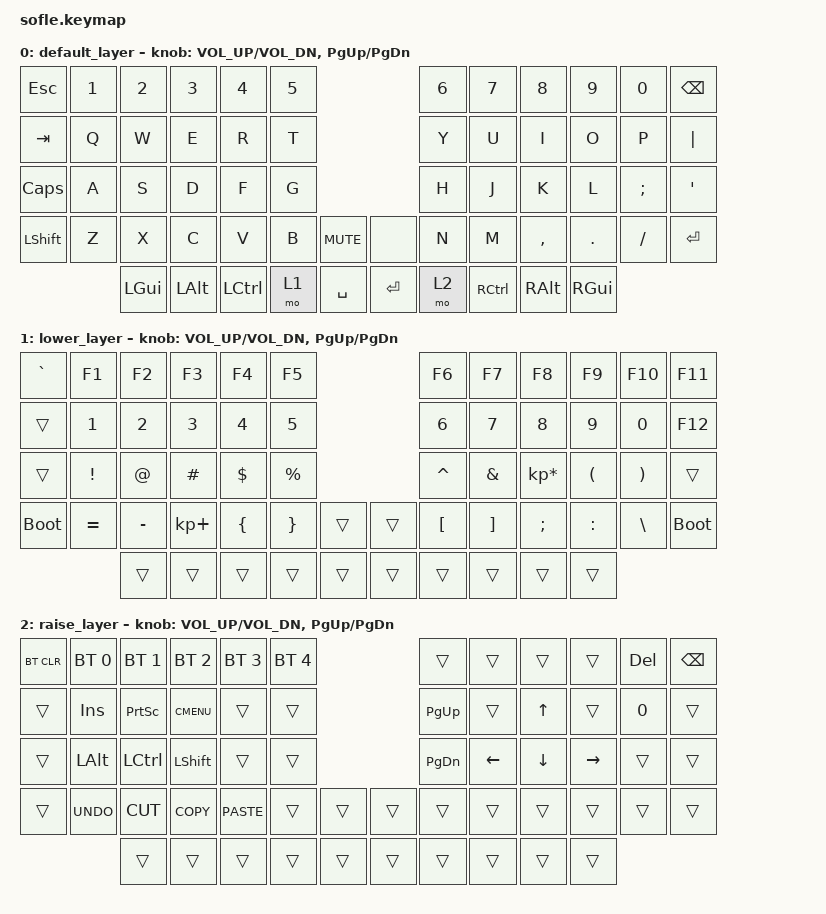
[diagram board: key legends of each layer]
/*
 * Copyright (c) 2020 The ZMK Contributors
 *
 * SPDX-License-Identifier: MIT
 */

#include <behaviors.dtsi>
#include <dt-bindings/zmk/keys.h>
#include <dt-bindings/zmk/bt.h>

/ {
    keymap {
        compatible = "zmk,keymap";

        default_layer {
// ------------------------------------------------------------------------------------------------------------
// |  ESC  |  1  |  2  |  3   |  4   |  5   |                   |  6   |  7    |  8    |  9   |   0   | BKSPC |
// |  TAB  |  Q  |  W  |  E   |  R   |  T   |                   |  Y   |  U    |  I    |  O   |   P   |   |   |
// |  CAPS |  A  |  S  |  D   |  F   |  G   |                   |  H   |  J    |  K    |  L   |   ;   |   '   |
// | SHIFT |  Z  |  X  |  C   |  V   |  B   |  MUTE  |  |       |  N   |  M    |  ,    |  .   |   /   | ENTER |
//               | GUI | ALT  | CTRL | LOWER|  SPACE |  | ENTER | RAISE| CTRL  | ALT   | GUI  |
            bindings = <
&kp ESC   &kp N1 &kp N2   &kp N3   &kp N4    &kp N5                      &kp N6 &kp N7    &kp N8    &kp N9   &kp N0   &kp BSPC
&kp TAB   &kp Q  &kp W    &kp E    &kp R     &kp T                       &kp Y  &kp U     &kp I     &kp O    &kp P    &kp PIPE
&kp CLCK  &kp A  &kp S    &kp D    &kp F     &kp G                       &kp H  &kp J     &kp K     &kp L    &kp SEMI &kp SQT
&kp LSHFT &kp Z  &kp X    &kp C    &kp V     &kp B  &kp C_MUTE  &none    &kp N  &kp M     &kp COMMA &kp DOT  &kp FSLH &kp RET
                 &kp LGUI &kp LALT &kp LCTRL &mo 1  &kp SPACE   &kp RET  &mo 2  &kp RCTRL &kp RALT  &kp RGUI
            >;

            sensor-bindings = <&inc_dec_kp C_VOL_UP C_VOL_DN &inc_dec_kp PG_UP PG_DN>;
        };

        lower_layer {
// TODO: Some binds are waiting for shifted keycode support.
// ------------------------------------------------------------------------------------------------------------
// |   `   |  F1 |  F2 |  F3  |  F4  |  F5  |                   |  F6  |  F7   |  F8   |  F9  |  F10  |  F11  |
// |       |   1 |   2 |   3  |   4  |   5  |                   |   6  |   7   |   8   |   9  |    0  |  F12  |
// |       |  !  |  @  |  #   |  $   |  %   |                   |  ^   |  &    |  *    |  (   |   )   |       |
// | bootl |  =  |  -  |  +   |  {   |  }   |        |  |       |  [   |  ]    |  ;    |  :   |   \   | bootl |
//               |     |      |      |      |        |  |       |      |       |       |      |
            bindings = <
&kp GRAVE    &kp F1    &kp F2    &kp F3      &kp F4    &kp F5                    &kp F6    &kp F7   &kp F8          &kp F9    &kp F10   &kp F11
&trans       &kp N1    &kp N2    &kp N3      &kp N4    &kp N5                    &kp N6    &kp N7   &kp N8          &kp N9    &kp N0    &kp F12
&trans       &kp EXCL  &kp AT    &kp HASH    &kp DLLR  &kp PRCNT                 &kp CARET &kp AMPS &kp KP_MULTIPLY &kp LPAR  &kp RPAR  &trans
&bootloader  &kp EQUAL &kp MINUS &kp KP_PLUS &kp LBRC  &kp RBRC  &trans   &trans &kp LBKT  &kp RBKT &kp SEMI        &kp COLON &kp BSLH  &bootloader
                    &trans    &trans      &trans    &trans    &trans   &trans &trans    &trans   &trans          &trans
            >;

            sensor-bindings = <&inc_dec_kp C_VOL_UP C_VOL_DN &inc_dec_kp PG_UP PG_DN>;
        };

        raise_layer {
// ------------------------------------------------------------------------------------------------------------
// |BTCLR| BT1  | BT2  |  BT3  |  BT4  |  BT5 |                |      |      |       |      |  DEL  |  BKSP |
// |     | INS  | PSCR | GUI   |       |      |                | PGUP |      |   ^   |      |       |       |
// |     | ALT  | CTRL | SHIFT |       |      |                | PGDN |   <- |   v   |  ->  |       |       |
// |     | UNDO | CUT  | COPY  | PASTE |      |      |  |      |      |      |       |      |       |       |
//              |      |       |       |      |      |  |      |      |      |       |      |
            bindings = <
&bt BT_CLR &bt BT_SEL 0 &bt BT_SEL 1 &bt BT_SEL 2 &bt BT_SEL 3 &bt BT_SEL 4             &trans    &trans    &trans   &trans    &kp DEL  &kp BSPC
&trans     &kp INS      &kp PSCRN    &kp K_CMENU  &trans       &trans                   &kp PG_UP &trans    &kp UP   &trans    &kp N0  &trans
&trans     &kp LALT     &kp LCTRL    &kp LSHFT    &trans       &trans                   &kp PG_DN &kp LEFT  &kp DOWN &kp RIGHT &trans  &trans
&trans     &kp K_UNDO   &kp K_CUT    &kp K_COPY   &kp K_PASTE  &trans  &trans   &trans  &trans    &trans    &trans   &trans    &trans  &trans
                        &trans       &trans       &trans       &trans  &trans   &trans  &trans    &trans    &trans   &trans
            >;

            sensor-bindings = <&inc_dec_kp C_VOL_UP C_VOL_DN &inc_dec_kp PG_UP PG_DN>;
        };
    };
};
